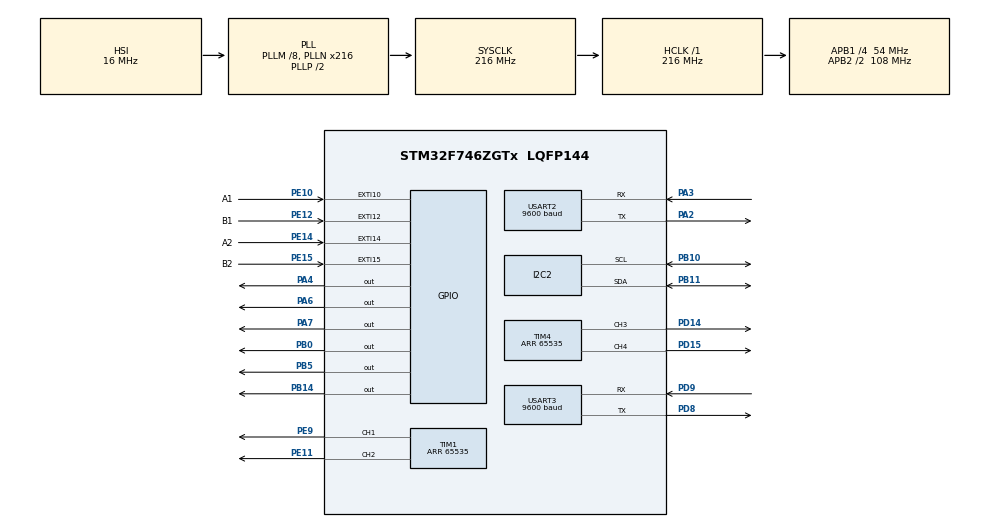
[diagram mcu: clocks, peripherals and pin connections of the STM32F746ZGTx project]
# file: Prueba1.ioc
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Dma.Request0=USART2_RX
Dma.Request1=USART2_TX
Dma.Request2=USART3_RX
Dma.Request3=USART3_TX
Dma.USART2_RX.0.Direction=DMA_PERIPH_TO_MEMORY
Dma.USART2_RX.0.FIFOMode=DMA_FIFOMODE_DISABLE
Dma.USART2_RX.0.Instance=DMA1_Stream5
Dma.USART2_RX.0.MemDataAlignment=DMA_MDATAALIGN_BYTE
Dma.USART2_RX.0.MemInc=DMA_MINC_ENABLE
Dma.USART2_RX.0.Mode=DMA_NORMAL
Dma.USART2_RX.0.PeriphDataAlignment=DMA_PDATAALIGN_BYTE
Dma.USART2_RX.0.PeriphInc=DMA_PINC_DISABLE
Dma.USART2_RX.0.Priority=DMA_PRIORITY_LOW
Dma.USART2_TX.1.Direction=DMA_MEMORY_TO_PERIPH
Dma.USART2_TX.1.FIFOMode=DMA_FIFOMODE_DISABLE
Dma.USART2_TX.1.Instance=DMA1_Stream6
Dma.USART2_TX.1.MemDataAlignment=DMA_MDATAALIGN_BYTE
Dma.USART2_TX.1.MemInc=DMA_MINC_ENABLE
Dma.USART2_TX.1.Mode=DMA_NORMAL
Dma.USART2_TX.1.PeriphDataAlignment=DMA_PDATAALIGN_BYTE
Dma.USART2_TX.1.PeriphInc=DMA_PINC_DISABLE
Dma.USART2_TX.1.Priority=DMA_PRIORITY_LOW
Dma.USART3_RX.2.Direction=DMA_PERIPH_TO_MEMORY
Dma.USART3_RX.2.FIFOMode=DMA_FIFOMODE_DISABLE
Dma.USART3_RX.2.Instance=DMA1_Stream1
Dma.USART3_RX.2.MemDataAlignment=DMA_MDATAALIGN_BYTE
Dma.USART3_RX.2.MemInc=DMA_MINC_ENABLE
Dma.USART3_RX.2.Mode=DMA_NORMAL
Dma.USART3_RX.2.PeriphDataAlignment=DMA_PDATAALIGN_BYTE
Dma.USART3_RX.2.PeriphInc=DMA_PINC_DISABLE
Dma.USART3_RX.2.Priority=DMA_PRIORITY_LOW
Dma.USART3_TX.3.Direction=DMA_MEMORY_TO_PERIPH
Dma.USART3_TX.3.FIFOMode=DMA_FIFOMODE_DISABLE
Dma.USART3_TX.3.Instance=DMA1_Stream3
Dma.USART3_TX.3.MemDataAlignment=DMA_MDATAALIGN_BYTE
Dma.USART3_TX.3.MemInc=DMA_MINC_ENABLE
Dma.USART3_TX.3.Mode=DMA_NORMAL
Dma.USART3_TX.3.PeriphDataAlignment=DMA_PDATAALIGN_BYTE
Dma.USART3_TX.3.PeriphInc=DMA_PINC_DISABLE
Dma.USART3_TX.3.Priority=DMA_PRIORITY_LOW
I2C2.Timing=0x20404768
Mcu.Family=STM32F7
Mcu.Name=STM32F746ZGTx
Mcu.Package=LQFP144
NVIC.DMA1_Stream1_IRQn=true\:0\:0\:false\:false\:true\:false\:true
NVIC.DMA1_Stream3_IRQn=true\:0\:0\:false\:false\:true\:false\:true
NVIC.DMA1_Stream5_IRQn=true\:0\:0\:false\:false\:true\:false\:true
NVIC.DMA1_Stream6_IRQn=true\:0\:0\:false\:false\:true\:false\:true
NVIC.EXTI15_10_IRQn=true\:0\:0\:false\:false\:true\:true\:true
NVIC.PriorityGroup=NVIC_PRIORITYGROUP_4
NVIC.TIM2_IRQn=true\:0\:0\:false\:false\:true\:true\:true
NVIC.USART2_IRQn=true\:0\:0\:false\:false\:true\:true\:true
NVIC.USART3_IRQn=true\:0\:0\:false\:false\:true\:true\:true
PA2.Mode=Asynchronous
PA2.Signal=USART2_TX
PA3.Mode=Asynchronous
PA3.Signal=USART2_RX
PA4.Signal=GPIO_Output
PA6.Signal=GPIO_Output
PA7.Signal=GPIO_Output
PB0.Signal=GPIO_Output
PB10.Mode=I2C
PB10.Signal=I2C2_SCL
PB11.Mode=I2C
PB11.Signal=I2C2_SDA
PB14.Signal=GPIO_Output
PB5.Signal=GPIO_Output
PC14/OSC32_IN.Mode=LSE-External-Oscillator
PC14/OSC32_IN.Signal=RCC_OSC32_IN
PC15/OSC32_OUT.Mode=LSE-External-Oscillator
PC15/OSC32_OUT.Signal=RCC_OSC32_OUT
PD14.Signal=S_TIM4_CH3
PD15.Signal=S_TIM4_CH4
PD8.Mode=Asynchronous
PD8.Signal=USART3_TX
PD9.Mode=Asynchronous
PD9.Signal=USART3_RX
PE10.GPIO_Label=A1
PE10.GPIO_ModeDefaultEXTI=GPIO_MODE_IT_RISING_FALLING
PE10.Signal=GPXTI10
PE11.Signal=S_TIM1_CH2
PE12.GPIO_Label=B1
PE12.GPIO_ModeDefaultEXTI=GPIO_MODE_IT_RISING_FALLING
PE12.Signal=GPXTI12
PE14.GPIO_Label=A2
PE14.GPIO_ModeDefaultEXTI=GPIO_MODE_IT_RISING_FALLING
PE14.Signal=GPXTI14
PE15.GPIO_Label=B2
PE15.GPIO_ModeDefaultEXTI=GPIO_MODE_IT_RISING_FALLING
PE15.Signal=GPXTI15
PE9.Signal=S_TIM1_CH1
PH0/OSC_IN.Mode=HSE-External-Oscillator
PH0/OSC_IN.Signal=RCC_OSC_IN
PH1/OSC_OUT.Mode=HSE-External-Oscillator
PH1/OSC_OUT.Signal=RCC_OSC_OUT
ProjectManager.HeapSize=0x200
ProjectManager.StackSize=0x400
ProjectManager.TargetToolchain=MDK-ARM V5.27
RCC.AHBFreq_Value=216000000
RCC.APB1CLKDivider=RCC_HCLK_DIV4
RCC.APB1Freq_Value=54000000
RCC.APB1TimFreq_Value=108000000
RCC.APB2CLKDivider=RCC_HCLK_DIV2
RCC.APB2Freq_Value=108000000
RCC.APB2TimFreq_Value=216000000
RCC.CortexFreq_Value=216000000
RCC.HCLKFreq_Value=216000000
RCC.HSE_VALUE=25000000
RCC.HSI_VALUE=16000000
RCC.PLLM=8
RCC.PLLN=216
RCC.SYSCLKFreq_VALUE=216000000
RCC.SYSCLKSource=RCC_SYSCLKSOURCE_PLLCLK
RCC.USBFreq_Value=216000000
RCC.VCOOutputFreq_Value=432000000
SH.S_TIM1_CH1.0=TIM1_CH1,PWM Generation1 CH1
SH.S_TIM1_CH2.0=TIM1_CH2,PWM Generation2 CH2
SH.S_TIM4_CH3.0=TIM4_CH3,PWM Generation3 CH3
SH.S_TIM4_CH4.0=TIM4_CH4,PWM Generation4 CH4
TIM1.Channel-PWM\ Generation1\ CH1=TIM_CHANNEL_1
TIM1.Channel-PWM\ Generation2\ CH2=TIM_CHANNEL_2
TIM1.Period=65535
TIM1.RepetitionCounter=0
TIM2.Period=39
TIM2.Prescaler=53999
TIM4.Channel-PWM\ Generation3\ CH3=TIM_CHANNEL_3
TIM4.Channel-PWM\ Generation4\ CH4=TIM_CHANNEL_4
TIM4.Period=65535
USART2.BaudRate=9600
USART2.VirtualMode-Asynchronous=VM_ASYNC
USART3.BaudRate=9600
USART3.VirtualMode-Asynchronous=VM_ASYNC
VP_TIM1_VS_ClockSourceINT.Mode=Internal
VP_TIM2_VS_ClockSourceINT.Mode=Internal
VP_TIM4_VS_ClockSourceINT.Mode=Internal
board=custom

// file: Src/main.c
/* USER CODE BEGIN Header */
/**
  ******************************************************************************
  * @file           : main.c
  * @brief          : Main program body
  ******************************************************************************
  * @attention
  *
  * <h2><center>&copy; Copyright (c) 2019 STMicroelectronics.
  * All rights reserved.</center></h2>
  *
  * This software component is licensed by ST under BSD 3-Clause license,
  * the "License"; You may not use this file except in compliance with the
  * License. You may obtain a copy of the License at:
  *                        opensource.org/licenses/BSD-3-Clause
  *
  ******************************************************************************
  */
/* USER CODE END Header */

#include "main.h"

/* USER CODE BEGIN Includes */
#include <stdio.h>
#include <string.h>
#include <stdlib.h>
#include <math.h>
#include "TJ_MPU6050.h"

#define M_PI        3.14159265358979323846;
#define mpu9265Address	0xD0
#define G_R 131.0
#define A_R 16384.0
#define RAD_A_DEG 57.295779
#define ema_alpha 0.8
/* USER CODE END Includes */

I2C_HandleTypeDef hi2c2;

TIM_HandleTypeDef htim1;
TIM_HandleTypeDef htim2;
TIM_HandleTypeDef htim4;

UART_HandleTypeDef huart2;
UART_HandleTypeDef huart3;
DMA_HandleTypeDef hdma_usart2_rx;
DMA_HandleTypeDef hdma_usart2_tx;
DMA_HandleTypeDef hdma_usart3_rx;
DMA_HandleTypeDef hdma_usart3_tx;

void SystemClock_Config(void);
static void MX_GPIO_Init(void);
static void MX_DMA_Init(void);
static void MX_USART2_UART_Init(void);
static void MX_TIM2_Init(void);
static void MX_TIM1_Init(void);
static void MX_TIM4_Init(void);
static void MX_I2C2_Init(void);
static void MX_USART3_UART_Init(void);

/* USER CODE BEGIN 0 */
void crear(float **matriz, int fil, int col);
void valores(float **matriz, int fil, int col);
void crear_valores(float **matriz, int fil, int col);
void imprimir(float **matriz, int fil, int col);
void multiplicacion(float **matriz1, float **matriz2, float **matriz3, int fil1, int col1, int fil2, int col2);
void eye(float **matriz,int fil);
void copia(float **matriz1,float **matriz2,int fil,int col);
void inversa(float **matriz,float **m_inv, int fil);
void transpuesta(float **matriz,float **trans, int fil,int col);
void pseudoinversa(float **matriz, float **pseudo, int fil, int col);

void uprintf(char *str){
	HAL_UART_Transmit(&huart3, (uint8_t*)str, strlen(str),100);
}
void uprintf2(char *str){
	HAL_UART_Transmit(&huart2, (uint8_t*)str, strlen(str),100);
}

int SA1,SB1,SA2,SB2;
int count_1=0, count_2=0;
char buffer[32] = {0};
int ha=0,hb=0;
int bandera=0;
uint8_t RxData[11];

//PID
float v,vangular;
float v_2,vangular_2;
float eactual,eanterior=0,esum=0;
float eactual_2,eanterior_2=0,esum_2=0;
float sp = -5,sp_2=1.6;
int PID;
int PID_2;
float kp_2=3000,ki_2=60,kd_2=300;
float kp=3000,ki=60,kd=300;
int t;

uint8_t i2cBuf[8];
int16_t ax,ay,az,gx,gy,gz,gxa,gya,gza;
float Xaccel,Yaccel,Zaccel;
float Acc[2];
float Giro[3];
float angle[4];
float GiroN[3];

RawData_Def myAccelRaw, myGyroRaw;
ScaledData_Def myAccelScaled, myAcceScaledfilter, myGyroScaled, myGyroScaledfilter;

/* USER CODE END 0 */

int main(void)
{
  /* USER CODE BEGIN 1 */
	MPU_ConfigTypeDef myMpuConfig;

  /* USER CODE END 1 */

  /* MCU Configuration--------------------------------------------------------*/

  /* Reset of all peripherals, Initializes the Flash interface and the Systick. */
  HAL_Init();

  /* Configure the system clock */
  SystemClock_Config();

  /* Initialize all configured peripherals */
  MX_GPIO_Init();
  MX_DMA_Init();
  MX_USART2_UART_Init();
  MX_TIM2_Init();
  MX_TIM1_Init();
  MX_TIM4_Init();
  MX_I2C2_Init();
  MX_USART3_UART_Init();
  /* USER CODE BEGIN 2 */
	HAL_UART_Receive_DMA(&huart2,RxData,1);
	HAL_UART_Receive_DMA(&huart3,RxData,1);
	HAL_TIM_Base_Start_IT(&htim2);
	HAL_TIM_PWM_Start(&htim1,TIM_CHANNEL_1);//INIT CHANNEL 1
	HAL_TIM_PWM_Start(&htim1,TIM_CHANNEL_2);//INIT CHANNEL 2
	HAL_TIM_PWM_Start(&htim4,TIM_CHANNEL_3);
	HAL_TIM_PWM_Start(&htim4,TIM_CHANNEL_4);
	TIM4->CCR3 = 0;
	TIM4->CCR4 = 0;
	TIM1->CCR1 = 0;
	TIM1->CCR2 = 0;

	MPU6050_Init(&hi2c2);
	//2. Configure Accel and Gyro parameters
	myMpuConfig.Accel_Full_Scale = AFS_SEL_2g;
	myMpuConfig.ClockSource = Internal_8MHz;
	myMpuConfig.CONFIG_DLPF = DLPF_184A_188G_Hz;
	myMpuConfig.Gyro_Full_Scale = FS_SEL_250;
	myMpuConfig.Sleep_Mode_Bit = 0;  //1: sleep mode, 0: normal mode
	MPU6050_Config(&myMpuConfig);

	angle[2] = 0;

  /* USER CODE END 2 */

  /* Infinite loop */
  /* USER CODE BEGIN WHILE */
  while (1)
  {
		if (ha!=hb){
			HAL_GPIO_TogglePin(GPIOB, GPIO_PIN_14);
			t = 20;
			v=count_1/t;
			vangular = v * 1000 * 2* M_PI;
			vangular = vangular/3591;
			v_2 = count_2/t;
			vangular_2 = v_2 * 1000 * 2* M_PI;
			vangular_2 = vangular_2/3591;
			eactual = sp - vangular;
			PID = kp*eactual+ki*esum*t+kd*(eactual-eanterior)/t;
			eanterior = eactual;
			esum += eactual;
			eactual_2 = sp_2 - vangular_2;
			PID_2 = kp_2 * eactual_2 + ki_2 * esum_2 * t + kd_2 * (eactual_2 - eanterior_2)/2;
			eanterior_2 = eactual_2;
			esum_2 += eactual_2;
			if(PID>=65535){PID=65535;}
			else if(PID<=-65535){PID=-65535;}
			if(PID_2>=65535){PID_2=65535;}
			else if(PID_2<=-65535){PID_2=-65535;}
			//PA7-IN1 PA6-IN2
			//	1 			0 			-
			//	0				1 			+
			//PA4-IN4 PB3-IN3
			//	1				0				-
			//	0				1				+
			if(PID>0){
				TIM4->CCR3= PID;
				HAL_GPIO_WritePin(GPIOA,GPIO_PIN_7,GPIO_PIN_RESET);
				HAL_GPIO_WritePin(GPIOA,GPIO_PIN_6,GPIO_PIN_SET);
			}
			else if(PID<0){
				TIM4->CCR3= -1*PID;
				HAL_GPIO_WritePin(GPIOA,GPIO_PIN_7,GPIO_PIN_SET);
				HAL_GPIO_WritePin(GPIOA,GPIO_PIN_6,GPIO_PIN_RESET);
			}

			if(PID_2>0){
				TIM4->CCR4= PID_2;
				HAL_GPIO_WritePin(GPIOB,GPIO_PIN_5,GPIO_PIN_RESET);
				HAL_GPIO_WritePin(GPIOA,GPIO_PIN_4,GPIO_PIN_SET);
			}
			else if(PID_2<0){
				TIM4->CCR4= -1*PID_2;
				HAL_GPIO_WritePin(GPIOB,GPIO_PIN_5,GPIO_PIN_SET);
				HAL_GPIO_WritePin(GPIOA,GPIO_PIN_4,GPIO_PIN_RESET);
			}
	  hb = ha;
		count_1 = 0;
		count_2 = 0;

		MPU6050_Get_Accel_Cali(&myAccelScaled);
		MPU6050_Get_Gyro_Scale(&myGyroScaled);

		myAcceScaledfilter.x = ema_alpha * myAccelScaled.x + (1 - ema_alpha) * myAcceScaledfilter.x;
		myAcceScaledfilter.y = ema_alpha * myAccelScaled.y + (1 - ema_alpha) * myAcceScaledfilter.y;
		myAcceScaledfilter.z = ema_alpha * myAccelScaled.z + (1 - ema_alpha) * myAcceScaledfilter.z;

		myGyroScaledfilter.x = ema_alpha * myGyroScaled.x + (1 - ema_alpha) * myGyroScaledfilter.x;
		myGyroScaledfilter.y = ema_alpha * myGyroScaled.y + (1 - ema_alpha) * myGyroScaledfilter.y;
		myGyroScaledfilter.z = ema_alpha * myGyroScaled.z + (1 - ema_alpha) * myGyroScaledfilter.z;

		angle[2] = angle[2] + myGyroScaledfilter.z *	0.02;
		sprintf(buffer,"angulo: %f acc_x: %f acc_y: %f\n", angle[2],myAcceScaledfilter.x, myAcceScaledfilter.y);
		uprintf(buffer);

		}

    /* USER CODE END WHILE */

  }
}

void SystemClock_Config(void)
{
  RCC_OscInitTypeDef RCC_OscInitStruct = {0};
  RCC_ClkInitTypeDef RCC_ClkInitStruct = {0};
  RCC_PeriphCLKInitTypeDef PeriphClkInitStruct = {0};

  /** Configure LSE Drive Capability
  */
  HAL_PWR_EnableBkUpAccess();
  /** Configure the main internal regulator output voltage
  */
  __HAL_RCC_PWR_CLK_ENABLE();
  __HAL_PWR_VOLTAGESCALING_CONFIG(PWR_REGULATOR_VOLTAGE_SCALE1);
  /** Initializes the CPU, AHB and APB busses clocks
  */
  RCC_OscInitStruct.OscillatorType = RCC_OSCILLATORTYPE_HSI;
  RCC_OscInitStruct.HSIState = RCC_HSI_ON;
  RCC_OscInitStruct.HSICalibrationValue = RCC_HSICALIBRATION_DEFAULT;
  RCC_OscInitStruct.PLL.PLLState = RCC_PLL_ON;
  RCC_OscInitStruct.PLL.PLLSource = RCC_PLLSOURCE_HSI;
  RCC_OscInitStruct.PLL.PLLM = 8;
  RCC_OscInitStruct.PLL.PLLN = 216;
  RCC_OscInitStruct.PLL.PLLP = RCC_PLLP_DIV2;
  RCC_OscInitStruct.PLL.PLLQ = 2;
  if (HAL_RCC_OscConfig(&RCC_OscInitStruct) != HAL_OK)
  {
    Error_Handler();
  }
  /** Activate the Over-Drive mode
  */
  if (HAL_PWREx_EnableOverDrive() != HAL_OK)
  {
    Error_Handler();
  }
  /** Initializes the CPU, AHB and APB busses clocks
  */
  RCC_ClkInitStruct.ClockType = RCC_CLOCKTYPE_HCLK|RCC_CLOCKTYPE_SYSCLK
                              |RCC_CLOCKTYPE_PCLK1|RCC_CLOCKTYPE_PCLK2;
  RCC_ClkInitStruct.SYSCLKSource = RCC_SYSCLKSOURCE_PLLCLK;
  RCC_ClkInitStruct.AHBCLKDivider = RCC_SYSCLK_DIV1;
  RCC_ClkInitStruct.APB1CLKDivider = RCC_HCLK_DIV4;
  RCC_ClkInitStruct.APB2CLKDivider = RCC_HCLK_DIV2;

  if (HAL_RCC_ClockConfig(&RCC_ClkInitStruct, FLASH_LATENCY_7) != HAL_OK)
  {
    Error_Handler();
  }
  PeriphClkInitStruct.PeriphClockSelection = RCC_PERIPHCLK_USART2|RCC_PERIPHCLK_USART3
                              |RCC_PERIPHCLK_I2C2;
  PeriphClkInitStruct.Usart2ClockSelection = RCC_USART2CLKSOURCE_PCLK1;
  PeriphClkInitStruct.Usart3ClockSelection = RCC_USART3CLKSOURCE_PCLK1;
  PeriphClkInitStruct.I2c2ClockSelection = RCC_I2C2CLKSOURCE_PCLK1;
  if (HAL_RCCEx_PeriphCLKConfig(&PeriphClkInitStruct) != HAL_OK)
  {
    Error_Handler();
  }
}

static void MX_I2C2_Init(void)
{

  hi2c2.Instance = I2C2;
  hi2c2.Init.Timing = 0x20404768;
  hi2c2.Init.OwnAddress1 = 0;
  hi2c2.Init.AddressingMode = I2C_ADDRESSINGMODE_7BIT;
  hi2c2.Init.DualAddressMode = I2C_DUALADDRESS_DISABLE;
  hi2c2.Init.OwnAddress2 = 0;
  hi2c2.Init.OwnAddress2Masks = I2C_OA2_NOMASK;
  hi2c2.Init.GeneralCallMode = I2C_GENERALCALL_DISABLE;
  hi2c2.Init.NoStretchMode = I2C_NOSTRETCH_DISABLE;
  if (HAL_I2C_Init(&hi2c2) != HAL_OK)
  {
    Error_Handler();
  }
  /** Configure Analogue filter
  */
  if (HAL_I2CEx_ConfigAnalogFilter(&hi2c2, I2C_ANALOGFILTER_ENABLE) != HAL_OK)
  {
    Error_Handler();
  }
  /** Configure Digital filter
  */
  if (HAL_I2CEx_ConfigDigitalFilter(&hi2c2, 0) != HAL_OK)
  {
    Error_Handler();
  }

}

static void MX_TIM1_Init(void)
{

  TIM_ClockConfigTypeDef sClockSourceConfig = {0};
  TIM_MasterConfigTypeDef sMasterConfig = {0};
  TIM_OC_InitTypeDef sConfigOC = {0};
  TIM_BreakDeadTimeConfigTypeDef sBreakDeadTimeConfig = {0};

  htim1.Instance = TIM1;
  htim1.Init.Prescaler = 0;
  htim1.Init.CounterMode = TIM_COUNTERMODE_UP;
  htim1.Init.Period = 65535;
  htim1.Init.ClockDivision = TIM_CLOCKDIVISION_DIV1;
  htim1.Init.RepetitionCounter = 0;
  htim1.Init.AutoReloadPreload = TIM_AUTORELOAD_PRELOAD_DISABLE;
  if (HAL_TIM_Base_Init(&htim1) != HAL_OK)
  {
    Error_Handler();
  }
  sClockSourceConfig.ClockSource = TIM_CLOCKSOURCE_INTERNAL;
  if (HAL_TIM_ConfigClockSource(&htim1, &sClockSourceConfig) != HAL_OK)
  {
    Error_Handler();
  }
  if (HAL_TIM_PWM_Init(&htim1) != HAL_OK)
  {
    Error_Handler();
  }
  sMasterConfig.MasterOutputTrigger = TIM_TRGO_RESET;
  sMasterConfig.MasterOutputTrigger2 = TIM_TRGO2_RESET;
  sMasterConfig.MasterSlaveMode = TIM_MASTERSLAVEMODE_DISABLE;
  if (HAL_TIMEx_MasterConfigSynchronization(&htim1, &sMasterConfig) != HAL_OK)
  {
    Error_Handler();
  }
  sConfigOC.OCMode = TIM_OCMODE_PWM1;
  sConfigOC.Pulse = 0;
  sConfigOC.OCPolarity = TIM_OCPOLARITY_HIGH;
  sConfigOC.OCNPolarity = TIM_OCNPOLARITY_HIGH;
  sConfigOC.OCFastMode = TIM_OCFAST_DISABLE;
  sConfigOC.OCIdleState = TIM_OCIDLESTATE_RESET;
  sConfigOC.OCNIdleState = TIM_OCNIDLESTATE_RESET;
  if (HAL_TIM_PWM_ConfigChannel(&htim1, &sConfigOC, TIM_CHANNEL_1) != HAL_OK)
  {
    Error_Handler();
  }
  if (HAL_TIM_PWM_ConfigChannel(&htim1, &sConfigOC, TIM_CHANNEL_2) != HAL_OK)
  {
    Error_Handler();
  }
  sBreakDeadTimeConfig.OffStateRunMode = TIM_OSSR_DISABLE;
  sBreakDeadTimeConfig.OffStateIDLEMode = TIM_OSSI_DISABLE;
  sBreakDeadTimeConfig.LockLevel = TIM_LOCKLEVEL_OFF;
  sBreakDeadTimeConfig.DeadTime = 0;
  sBreakDeadTimeConfig.BreakState = TIM_BREAK_DISABLE;
  sBreakDeadTimeConfig.BreakPolarity = TIM_BREAKPOLARITY_HIGH;
  sBreakDeadTimeConfig.BreakFilter = 0;
  sBreakDeadTimeConfig.Break2State = TIM_BREAK2_DISABLE;
  sBreakDeadTimeConfig.Break2Polarity = TIM_BREAK2POLARITY_HIGH;
  sBreakDeadTimeConfig.Break2Filter = 0;
  sBreakDeadTimeConfig.AutomaticOutput = TIM_AUTOMATICOUTPUT_DISABLE;
  if (HAL_TIMEx_ConfigBreakDeadTime(&htim1, &sBreakDeadTimeConfig) != HAL_OK)
  {
    Error_Handler();
  }
  HAL_TIM_MspPostInit(&htim1);

}

static void MX_TIM2_Init(void)
{

  TIM_ClockConfigTypeDef sClockSourceConfig = {0};
  TIM_MasterConfigTypeDef sMasterConfig = {0};

  htim2.Instance = TIM2;
  htim2.Init.Prescaler = 53999;
  htim2.Init.CounterMode = TIM_COUNTERMODE_UP;
  htim2.Init.Period = 39;
  htim2.Init.ClockDivision = TIM_CLOCKDIVISION_DIV1;
  htim2.Init.AutoReloadPreload = TIM_AUTORELOAD_PRELOAD_DISABLE;
  if (HAL_TIM_Base_Init(&htim2) != HAL_OK)
  {
    Error_Handler();
  }
  sClockSourceConfig.ClockSource = TIM_CLOCKSOURCE_INTERNAL;
  if (HAL_TIM_ConfigClockSource(&htim2, &sClockSourceConfig) != HAL_OK)
  {
    Error_Handler();
  }
  sMasterConfig.MasterOutputTrigger = TIM_TRGO_RESET;
  sMasterConfig.MasterSlaveMode = TIM_MASTERSLAVEMODE_DISABLE;
  if (HAL_TIMEx_MasterConfigSynchronization(&htim2, &sMasterConfig) != HAL_OK)
  {
    Error_Handler();
  }

}

static void MX_TIM4_Init(void)
{

  TIM_ClockConfigTypeDef sClockSourceConfig = {0};
  TIM_MasterConfigTypeDef sMasterConfig = {0};
  TIM_OC_InitTypeDef sConfigOC = {0};

  htim4.Instance = TIM4;
  htim4.Init.Prescaler = 0;
  htim4.Init.CounterMode = TIM_COUNTERMODE_UP;
  htim4.Init.Period = 65535;
  htim4.Init.ClockDivision = TIM_CLOCKDIVISION_DIV1;
  htim4.Init.AutoReloadPreload = TIM_AUTORELOAD_PRELOAD_DISABLE;
  if (HAL_TIM_Base_Init(&htim4) != HAL_OK)
  {
    Error_Handler();
  }
  sClockSourceConfig.ClockSource = TIM_CLOCKSOURCE_INTERNAL;
  if (HAL_TIM_ConfigClockSource(&htim4, &sClockSourceConfig) != HAL_OK)
  {
    Error_Handler();
  }
  if (HAL_TIM_PWM_Init(&htim4) != HAL_OK)
  {
    Error_Handler();
  }
  sMasterConfig.MasterOutputTrigger = TIM_TRGO_RESET;
  sMasterConfig.MasterSlaveMode = TIM_MASTERSLAVEMODE_DISABLE;
  if (HAL_TIMEx_MasterConfigSynchronization(&htim4, &sMasterConfig) != HAL_OK)
  {
    Error_Handler();
  }
  sConfigOC.OCMode = TIM_OCMODE_PWM1;
  sConfigOC.Pulse = 0;
  sConfigOC.OCPolarity = TIM_OCPOLARITY_HIGH;
  sConfigOC.OCFastMode = TIM_OCFAST_DISABLE;
  if (HAL_TIM_PWM_ConfigChannel(&htim4, &sConfigOC, TIM_CHANNEL_3) != HAL_OK)
  {
    Error_Handler();
  }
  if (HAL_TIM_PWM_ConfigChannel(&htim4, &sConfigOC, TIM_CHANNEL_4) != HAL_OK)
  {
    Error_Handler();
  }
  HAL_TIM_MspPostInit(&htim4);

}

static void MX_USART2_UART_Init(void)
{

  huart2.Instance = USART2;
  huart2.Init.BaudRate = 9600;
  huart2.Init.WordLength = UART_WORDLENGTH_8B;
  huart2.Init.StopBits = UART_STOPBITS_1;
  huart2.Init.Parity = UART_PARITY_NONE;
  huart2.Init.Mode = UART_MODE_TX_RX;
  huart2.Init.HwFlowCtl = UART_HWCONTROL_NONE;
  huart2.Init.OverSampling = UART_OVERSAMPLING_16;
  huart2.Init.OneBitSampling = UART_ONE_BIT_SAMPLE_DISABLE;
  huart2.AdvancedInit.AdvFeatureInit = UART_ADVFEATURE_NO_INIT;
  if (HAL_UART_Init(&huart2) != HAL_OK)
  {
    Error_Handler();
  }

}

static void MX_USART3_UART_Init(void)
{

  huart3.Instance = USART3;
  huart3.Init.BaudRate = 9600;
  huart3.Init.WordLength = UART_WORDLENGTH_8B;
  huart3.Init.StopBits = UART_STOPBITS_1;
  huart3.Init.Parity = UART_PARITY_NONE;
  huart3.Init.Mode = UART_MODE_TX_RX;
  huart3.Init.HwFlowCtl = UART_HWCONTROL_NONE;
  huart3.Init.OverSampling = UART_OVERSAMPLING_16;
  huart3.Init.OneBitSampling = UART_ONE_BIT_SAMPLE_DISABLE;
  huart3.AdvancedInit.AdvFeatureInit = UART_ADVFEATURE_NO_INIT;
  if (HAL_UART_Init(&huart3) != HAL_OK)
  {
    Error_Handler();
  }

}

static void MX_DMA_Init(void)
{

  /* DMA controller clock enable */
  __HAL_RCC_DMA1_CLK_ENABLE();

  /* DMA interrupt init */
  /* DMA1_Stream1_IRQn interrupt configuration */
  HAL_NVIC_SetPriority(DMA1_Stream1_IRQn, 0, 0);
  HAL_NVIC_EnableIRQ(DMA1_Stream1_IRQn);
  /* DMA1_Stream3_IRQn interrupt configuration */
  HAL_NVIC_SetPriority(DMA1_Stream3_IRQn, 0, 0);
  HAL_NVIC_EnableIRQ(DMA1_Stream3_IRQn);
  /* DMA1_Stream5_IRQn interrupt configuration */
  HAL_NVIC_SetPriority(DMA1_Stream5_IRQn, 0, 0);
  HAL_NVIC_EnableIRQ(DMA1_Stream5_IRQn);
  /* DMA1_Stream6_IRQn interrupt configuration */
  HAL_NVIC_SetPriority(DMA1_Stream6_IRQn, 0, 0);
  HAL_NVIC_EnableIRQ(DMA1_Stream6_IRQn);

}

static void MX_GPIO_Init(void)
{
  GPIO_InitTypeDef GPIO_InitStruct = {0};

  /* GPIO Ports Clock Enable */
  __HAL_RCC_GPIOC_CLK_ENABLE();
  __HAL_RCC_GPIOH_CLK_ENABLE();
  __HAL_RCC_GPIOA_CLK_ENABLE();
  __HAL_RCC_GPIOB_CLK_ENABLE();
  __HAL_RCC_GPIOE_CLK_ENABLE();
  __HAL_RCC_GPIOD_CLK_ENABLE();

  /*Configure GPIO pin Output Level */
  HAL_GPIO_WritePin(GPIOA, GPIO_PIN_4|GPIO_PIN_6|GPIO_PIN_7, GPIO_PIN_RESET);

  /*Configure GPIO pin Output Level */
  HAL_GPIO_WritePin(GPIOB, GPIO_PIN_0|GPIO_PIN_14|GPIO_PIN_5, GPIO_PIN_RESET);

  /*Configure GPIO pins : PA4 PA6 PA7 */
  GPIO_InitStruct.Pin = GPIO_PIN_4|GPIO_PIN_6|GPIO_PIN_7;
  GPIO_InitStruct.Mode = GPIO_MODE_OUTPUT_PP;
  GPIO_InitStruct.Pull = GPIO_NOPULL;
  GPIO_InitStruct.Speed = GPIO_SPEED_FREQ_LOW;
  HAL_GPIO_Init(GPIOA, &GPIO_InitStruct);

  /*Configure GPIO pins : PB0 PB14 PB5 */
  GPIO_InitStruct.Pin = GPIO_PIN_0|GPIO_PIN_14|GPIO_PIN_5;
  GPIO_InitStruct.Mode = GPIO_MODE_OUTPUT_PP;
  GPIO_InitStruct.Pull = GPIO_NOPULL;
  GPIO_InitStruct.Speed = GPIO_SPEED_FREQ_LOW;
  HAL_GPIO_Init(GPIOB, &GPIO_InitStruct);

  /*Configure GPIO pins : A1_Pin B1_Pin A2_Pin B2_Pin */
  GPIO_InitStruct.Pin = A1_Pin|B1_Pin|A2_Pin|B2_Pin;
  GPIO_InitStruct.Mode = GPIO_MODE_IT_RISING_FALLING;
  GPIO_InitStruct.Pull = GPIO_NOPULL;
  HAL_GPIO_Init(GPIOE, &GPIO_InitStruct);

  /* EXTI interrupt init*/
  HAL_NVIC_SetPriority(EXTI15_10_IRQn, 0, 0);
  HAL_NVIC_EnableIRQ(EXTI15_10_IRQn);

}

/* USER CODE BEGIN 4 */
void HAL_UART_RxCpltCallback(UART_HandleTypeDef *huart){
  UNUSED(huart);

	bandera=1;
}

void HAL_TIM_PeriodElapsedCallback(TIM_HandleTypeDef *htim){
	if(htim ->Instance == TIM2){
		//sprintf(buffer,"%d\n",count2);
		//uprintf(buffer);
		//count++;
		ha += 1;
		//HAL_GPIO_TogglePin(GPIOB,GPIO_PIN_0);
		//TIM4->CCR3= 65535;
		//HAL_GPIO_WritePin(GPIOA,GPIO_PIN_7,GPIO_PIN_SET);
		//HAL_GPIO_WritePin(GPIOA,GPIO_PIN_6,GPIO_PIN_RESET);

	}
}

void HAL_GPIO_EXTI_Callback (uint16_t GPIO_PIN){
	//ENCODER A1
	if( GPIO_PIN == A1_Pin){
		if(HAL_GPIO_ReadPin(GPIOE,GPIO_PIN_10)==GPIO_PIN_SET){
			if(HAL_GPIO_ReadPin(GPIOE,GPIO_PIN_10)!=HAL_GPIO_ReadPin(GPIOE,GPIO_PIN_12)){
				count_1++;
			}
			else{
				count_1--;
			}
		}
		else{
			if(HAL_GPIO_ReadPin(GPIOE,GPIO_PIN_10)!=HAL_GPIO_ReadPin(GPIOE,GPIO_PIN_12)){
				count_1++;
			}
			else{
				count_1--;
			}
		}
	}
	//ENCODER B1
	if(GPIO_PIN == B1_Pin){
		if(HAL_GPIO_ReadPin(GPIOE,GPIO_PIN_12)==GPIO_PIN_SET){
			if(HAL_GPIO_ReadPin(GPIOE,GPIO_PIN_10)==HAL_GPIO_ReadPin(GPIOE,GPIO_PIN_12)){
				count_1++;
			}
			else{
				count_1--;
			}
		}
		else{
			if(HAL_GPIO_ReadPin(GPIOE,GPIO_PIN_10)==HAL_GPIO_ReadPin(GPIOE,GPIO_PIN_12)){
				count_1++;
			}
			else{
				count_1--;
			}
		}
	}
	//ENCODER A2
	if(GPIO_PIN == A2_Pin){
		if(HAL_GPIO_ReadPin(GPIOE,GPIO_PIN_14)==GPIO_PIN_SET){
			if(HAL_GPIO_ReadPin(GPIOE,GPIO_PIN_14)!=HAL_GPIO_ReadPin(GPIOE,GPIO_PIN_15)){
				count_2++;
			}
			else{
				count_2--;
			}
		}
		else{
			if(HAL_GPIO_ReadPin(GPIOE,GPIO_PIN_14)!=HAL_GPIO_ReadPin(GPIOE,GPIO_PIN_15)){
				count_2++;
			}
			else{
				count_2--;
			}
		}

	}
	if(GPIO_PIN == B2_Pin){
		if(HAL_GPIO_ReadPin(GPIOE,GPIO_PIN_15)==GPIO_PIN_SET){
			if(HAL_GPIO_ReadPin(GPIOE,GPIO_PIN_14)==HAL_GPIO_ReadPin(GPIOE,GPIO_PIN_15)){
				count_2++;
			}
			else{
				count_2--;
			}
		}
		else{
			if(HAL_GPIO_ReadPin(GPIOE,GPIO_PIN_14)==HAL_GPIO_ReadPin(GPIOE,GPIO_PIN_15)){
				count_2++;
			}
			else{
				count_2--;
			}
		}

	}

	else{
		__NOP();
	}
}

void crear(float **matriz, int fil, int col){
	int i;
	for(i=0;i<fil;i++){
		matriz[i] = (float *) calloc(col,sizeof(float));
	}
}
void valores(float **matriz,int fil, int col){
	int i,j;
	for(i=0;i<fil;i++){
		for(j=0;j<col;j++){
			printf("%d,%d: ",i,j);
			scanf("%f",&matriz[i][j]);
		}
	}
}
void crear_valores(float **matriz,int fil, int col){
	crear(matriz,fil,col);
	valores(matriz,fil,col);
}
void imprimir(float **matriz, int fil, int col){
	int i,j;
	for(i=0;i<fil;i++){
		for(j=0;j<col;j++){
			printf("%f, ",matriz[i][j]);
		}
		printf("\n");
	}
}
void multiplicacion(float **matriz1, float **matriz2, float **matriz3, int fil1, int col1, int fil2, int col2){
	int n,m,i;
	float sum;
	for(n=0; n<fil1;n++){

		for(m=0; m<col2;m++){

			sum=0;
			for(i=0;i<col1;i++){

				sum += matriz1[n][i]*matriz2[i][m];
			}
			matriz3[n][m] = sum;
		}
	}
}
void eye(float **matriz,int fil){
	crear(matriz,fil,fil);
	int i,j;
	for(i=0;i<fil;i++){
		for(j=0;j<fil;j++){
			if(i==j){
				matriz[i][j]=1;
			}
			else{
				matriz[i][j]=0;
			}
		}
	}
}
void copia(float **matriz1,float **matriz2,int fil,int col){
	int i,j;
	for(i=0;i<fil;i++){
		for(j=0;j<col;j++){
			matriz2[i][j]=matriz1[i][j];
		}
	}
}
void inversa(float **matriz,float **m_inv, int fil){
	float **identy = (float **) calloc(fil,sizeof(float *));
	float **copy = (float **) calloc(fil,sizeof(float *));
	float *b = (float *) calloc(fil,sizeof(float));
	crear(copy,fil,fil);
	eye(identy,fil);
	int q,m,k,i,j;
	for(q=0; q<fil;q++){
		copia(matriz,copy,fil,fil);
		for(m=0;m<fil;m++){b[m]=identy[m][q];}
		for(k=0;k<(fil-1);k++){
			for(i=(k+1);i<fil;i++){
				float factor = copy[i][k]/copy[k][k];
				copy[i][k] = factor;
				for(j=(k+1);j<fil;j++){
					copy[i][j] = copy[i][j] -factor*copy[k][j];
				}
			}
		}
		for (i=1;i<fil;i++){

			float sum = b[i];
			for(j=0;j<=(i-1);j++){
				sum = sum - copy[i][j]*b[j];
			}
			b[i] = sum;

		}

		m_inv[fil-1][q] = b[fil-1]/copy[fil-1][fil-1];
		for(i=(fil-2);i>=0;i--){
			float sum=0;
			for(j = (i+1);j<fil;j++){
				sum = sum + copy[i][j] * m_inv[j][q];
			}
			m_inv[i][q] = (b[i]-sum)/copy[i][i];
		}
	}
	free(identy);
	free(copy);
	free(b);
}
void transpuesta(float **matriz,float **trans, int fil,int col){
	int i,j;
	for(i=0;i<fil;i++){
		for(j=0;j<col;j++){
			trans[j][i] = matriz[i][j];
		}
	}
}
void pseudoinversa(float **matriz, float **pseudo, int fil, int col){
	//m = col , n = fil
	if (fil>col){

		float **trans = (float **) calloc(col,sizeof(float *));
		float **ct_c = (float **) calloc(col,sizeof(float *));
		float **ctc_inv = (float **) calloc(col,sizeof(float *));
		crear(trans,col,fil);
		crear(ct_c,col,col);
		crear(ctc_inv,col,col);
		transpuesta(matriz,trans,fil,col);
		multiplicacion(trans,matriz,ct_c,col,fil,fil,col);
		inversa(ct_c,ctc_inv,col);
		multiplicacion(ctc_inv,trans,pseudo,col,col,col,fil);
	}
	else{
		float **trans = (float **) calloc(col,sizeof(float *));
		float **c_ct = (float **) calloc(fil,sizeof(float *));
		float **ctc_inv = (float **) calloc(fil,sizeof(float *));
		crear(trans,col,fil);
		crear(c_ct,fil,fil);
		crear(ctc_inv,fil,fil);
		transpuesta(matriz,trans,fil,col);
		multiplicacion(matriz,trans,c_ct,fil,col,col,fil);
		inversa(c_ct,ctc_inv,fil);
		multiplicacion(trans,ctc_inv,pseudo,col,fil,fil,fil);
	}
}

/* USER CODE END 4 */

void Error_Handler(void)
{
}

/************************ (C) COPYRIGHT STMicroelectronics *****END OF FILE****/
